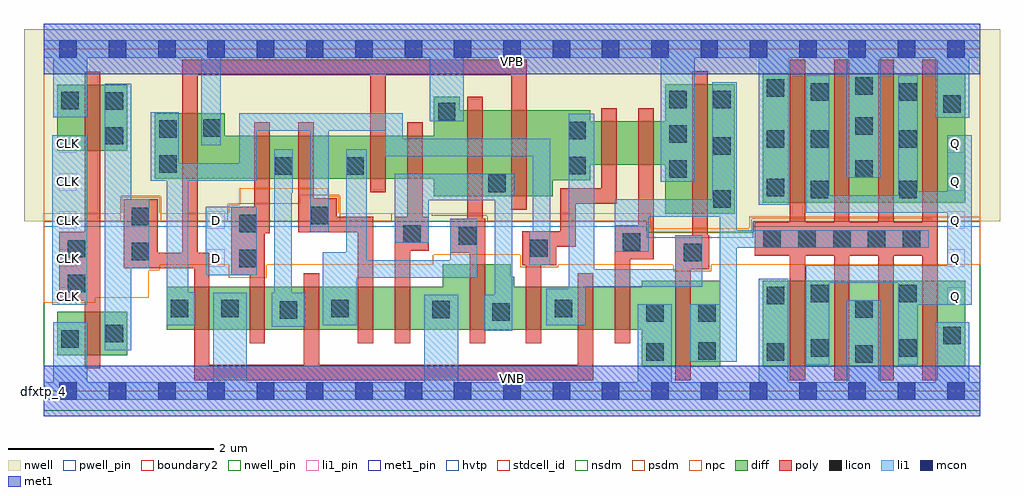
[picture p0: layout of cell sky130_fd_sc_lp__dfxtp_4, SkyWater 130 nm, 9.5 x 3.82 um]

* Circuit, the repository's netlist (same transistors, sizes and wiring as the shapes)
* Copyright 2020 The SkyWater PDK Authors
*
* Licensed under the Apache License, Version 2.0 (the "License");
* you may not use this file except in compliance with the License.
* You may obtain a copy of the License at
*
*     https://www.apache.org/licenses/LICENSE-2.0
*
* Unless required by applicable law or agreed to in writing, software
* distributed under the License is distributed on an "AS IS" BASIS,
* WITHOUT WARRANTIES OR CONDITIONS OF ANY KIND, either express or implied.
* See the License for the specific language governing permissions and
* limitations under the License.
*
* SPDX-License-Identifier: Apache-2.0

.SUBCKT sky130_fd_sc_lp__dfxtp_4 CLK D VGND VNB VPB VPWR Q
*.PININFO CLK:I D:I VGND:I VNB:I VPB:I VPWR:I Q:O
MI657 M0 clkpos net72 VNB sky130_fd_pr__nfet_01v8 m=1 w=0.42U l=0.15U mult=1 sa=0.265
+ sb=0.265 sd=0.28 area=0.063 perim=1.14
MI656 net72 M1 VGND VNB sky130_fd_pr__nfet_01v8 m=1 w=0.42U l=0.15U mult=1 sa=0.265
+ sb=0.265 sd=0.28 area=0.063 perim=1.14
MI646 Q S1 VGND VNB sky130_fd_pr__nfet_01v8 m=4 w=0.84U l=0.15U mult=1 sa=0.265
+ sb=0.265 sd=0.28 area=0.063 perim=1.14
MI648 db clkneg M0 VNB sky130_fd_pr__nfet_01v8 m=1 w=0.42U l=0.15U mult=1 sa=0.265
+ sb=0.265 sd=0.28 area=0.063 perim=1.14
MI654 db D VGND VNB sky130_fd_pr__nfet_01v8 m=1 w=0.42U l=0.15U mult=1 sa=0.265
+ sb=0.265 sd=0.28 area=0.063 perim=1.14
MI642 S0 clkneg net48 VNB sky130_fd_pr__nfet_01v8 m=1 w=0.42U l=0.15U mult=1 sa=0.265
+ sb=0.265 sd=0.28 area=0.063 perim=1.14
MI641 net48 S1 VGND VNB sky130_fd_pr__nfet_01v8 m=1 w=0.42U l=0.15U mult=1 sa=0.265
+ sb=0.265 sd=0.28 area=0.063 perim=1.14
MI652 M1 clkpos S0 VNB sky130_fd_pr__nfet_01v8 m=1 w=0.42U l=0.15U mult=1 sa=0.265
+ sb=0.265 sd=0.28 area=0.063 perim=1.14
MI649 S1 S0 VGND VNB sky130_fd_pr__nfet_01v8 m=1 w=0.84U l=0.15U mult=1 sa=0.265
+ sb=0.265 sd=0.28 area=0.063 perim=1.14
MI635 clkneg CLK VGND VNB sky130_fd_pr__nfet_01v8 m=1 w=0.42U l=0.15U mult=1 sa=0.265
+ sb=0.265 sd=0.28 area=0.063 perim=1.14
MI636 clkpos clkneg VGND VNB sky130_fd_pr__nfet_01v8 m=1 w=0.42U l=0.15U mult=1
+ sa=0.265 sb=0.265 sd=0.28 area=0.063 perim=1.14
MI634 M1 M0 VGND VNB sky130_fd_pr__nfet_01v8 m=1 w=0.64U l=0.15U mult=1 sa=0.265
+ sb=0.265 sd=0.28 area=0.063 perim=1.14
MI659 M0 clkneg net100 VPB sky130_fd_pr__pfet_01v8_hvt m=1 w=0.42U l=0.15U mult=1
+ sa=0.265 sb=0.265 sd=0.28 area=0.063 perim=1.14
MI650 S1 S0 VPWR VPB sky130_fd_pr__pfet_01v8_hvt m=1 w=1.26U l=0.15U mult=1 sa=0.265
+ sb=0.265 sd=0.28 area=0.063 perim=1.14
MI644 S0 clkpos net119 VPB sky130_fd_pr__pfet_01v8_hvt m=1 w=0.42U l=0.15U mult=1
+ sa=0.265 sb=0.265 sd=0.28 area=0.063 perim=1.14
MI639 M1 M0 VPWR VPB sky130_fd_pr__pfet_01v8_hvt m=1 w=0.84U l=0.15U mult=1 sa=0.265
+ sb=0.265 sd=0.28 area=0.063 perim=1.14
MI643 net119 S1 VPWR VPB sky130_fd_pr__pfet_01v8_hvt m=1 w=0.42U l=0.15U mult=1
+ sa=0.265 sb=0.265 sd=0.28 area=0.063 perim=1.14
MI638 clkneg CLK VPWR VPB sky130_fd_pr__pfet_01v8_hvt m=1 w=0.64U l=0.15U mult=1
+ sa=0.265 sb=0.265 sd=0.28 area=0.063 perim=1.14
MI658 net100 M1 VPWR VPB sky130_fd_pr__pfet_01v8_hvt m=1 w=0.42U l=0.15U mult=1
+ sa=0.265 sb=0.265 sd=0.28 area=0.063 perim=1.14
MI645 Q S1 VPWR VPB sky130_fd_pr__pfet_01v8_hvt m=4 w=1.26U l=0.15U mult=1 sa=0.265
+ sb=0.265 sd=0.28 area=0.063 perim=1.14
MI651 db clkpos M0 VPB sky130_fd_pr__pfet_01v8_hvt m=1 w=0.42U l=0.15U mult=1 sa=0.265
+ sb=0.265 sd=0.28 area=0.063 perim=1.14
MI655 db D VPWR VPB sky130_fd_pr__pfet_01v8_hvt m=1 w=0.42U l=0.15U mult=1 sa=0.265
+ sb=0.265 sd=0.28 area=0.063 perim=1.14
MI653 M1 clkneg S0 VPB sky130_fd_pr__pfet_01v8_hvt m=1 w=0.84U l=0.15U mult=1 sa=0.265
+ sb=0.265 sd=0.28 area=0.063 perim=1.14
MI637 clkpos clkneg VPWR VPB sky130_fd_pr__pfet_01v8_hvt m=1 w=0.64U l=0.15U mult=1
+ sa=0.265 sb=0.265 sd=0.28 area=0.063 perim=1.14
.ENDS sky130_fd_sc_lp__dfxtp_4

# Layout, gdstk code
import gdstk
lib = gdstk.Library(unit=1e-6, precision=1e-09)
def R(c, l, rs):  # rectangles x0, y0, x1, y1
    for r in rs: c.add(gdstk.rectangle(r[:2], r[2:], *l))
def A(c, l, x, y, w, h, nx, ny, dx, dy):  # array of equal rectangles
    R(c, l, [(x+i*dx, y+j*dy, x+i*dx+w, y+j*dy+h) for i in range(nx) for j in range(ny)])
def P(c, l, *ps):  # polygons
    for p in ps: c.add(gdstk.Polygon(p, *l))
nwell_pin = (64, 16)
nwell = (64, 20)
diff = (65, 20)
poly = (66, 20)
licon = (66, 44)
li1_pin = (67, 16)
li1 = (67, 20)
mcon = (67, 44)
met1_pin = (68, 16)
met1 = (68, 20)
hvtp = (78, 44)
stdcell_id = (81, 4)
nsdm = (93, 44)
psdm = (94, 20)
npc = (95, 20)
pwell_pin = (122, 16)
boundary2 = (236, 0)

sky130_fd_sc_lp__dfxtp_4 = lib.new_cell('sky130_fd_sc_lp__dfxtp_4')
R(sky130_fd_sc_lp__dfxtp_4, nwell_pin, [(0,3.085,9.12,3.33)])
P(sky130_fd_sc_lp__dfxtp_4, nwell, [(9.31,3.52),(-0.19,3.52),(-0.19,1.655),(5.87,1.655),(5.87,1.545),(6.91,1.545),(6.91,1.655),(9.31,1.655)])
R(sky130_fd_sc_lp__dfxtp_4, diff, [(7,0.235,8.97,1.075), (0.135,0.35,0.815,0.77), (7,1.835,8.97,3.095), (0.135,2.34,0.815,2.98)])
P(sky130_fd_sc_lp__dfxtp_4, diff, [(6.585,1.075),(5.825,1.075),(5.825,1.015),(4.58,1.015),(4.58,1.115),(4.55,1.115),(4.55,1.235),(3.885,1.235),(3.885,1.015),(1.2,1.015),(1.2,0.595),(5.825,0.595),(5.825,0.235),(6.585,0.235)],
  [(6.73,2.985),(6.05,2.985),(6.05,2.625),(5.32,2.625),(5.32,2.735),(4.05,2.735),(4.05,2.865),(3.8,2.865),(3.8,2.485),(1.765,2.485),(1.765,2.705),(1.085,2.705),(1.085,2.065),(3.8,2.065),(3.8,1.895),(4.955,1.895),(4.955,2.05),(5.32,2.05),(5.32,2.205),(6.05,2.205),(6.05,1.725),(6.73,1.725)])
P(sky130_fd_sc_lp__dfxtp_4, poly, [(0.55,3.11),(0.4,3.11),(0.4,1.55),(0.155,1.55),(0.155,0.88),(0.4,0.88),(0.4,0.22),(0.55,0.22)],
  [(2.155,1.535),(2.2,1.535),(2.2,2.615),(2.05,2.615),(2.05,1.795),(1.825,1.795),(1.825,1.125),(2.005,1.125),(2.005,0.465),(2.155,0.465)],
  [(3.21,1.695),(2.855,1.695),(2.855,1.875),(2.63,1.875),(2.63,2.615),(2.48,2.615),(2.48,1.545),(3.06,1.545),(3.06,0.465),(3.21,0.465)],
  [(3.75,1.695),(3.69,1.695),(3.69,2.615),(3.54,2.615),(3.54,1.695),(3.42,1.695),(3.42,0.465),(3.57,0.465),(3.57,1.365),(3.75,1.365)],
  [(4.3,1.675),(4.275,1.675),(4.275,2.865),(4.125,2.865),(4.125,1.675),(3.96,1.675),(3.96,1.345),(4.15,1.345),(4.15,0.465),(4.3,0.465)],
  [(5.35,1.145),(5.2,1.145),(5.2,0.255),(2.685,0.255),(2.685,1.145),(2.535,1.145),(2.535,0.255),(1.615,0.255),(1.615,1.345),(1.5,1.345),(1.5,3.075),(3.18,3.075),(3.18,1.935),(3.33,1.935),(3.33,3.075),(4.555,3.075),(4.555,1.765),(4.705,1.765),(4.705,3.225),(1.35,3.225),(1.35,1.345),(1.11,1.345),(1.11,1.865),(0.78,1.865),(0.78,1.195),(1.465,1.195),(1.465,0.105),(5.35,0.105)],
  [(5.58,2.755),(5.43,2.755),(5.43,1.975),(5.03,1.975),(5.03,1.555),(4.66,1.555),(4.66,1.225),(4.695,1.225),(4.695,0.465),(4.845,0.465),(4.845,1.225),(4.99,1.225),(4.99,1.405),(5.18,1.405),(5.18,1.825),(5.58,1.825)],
  [(5.94,2.755),(5.79,2.755),(5.79,1.615),(5.56,1.615),(5.56,0.465),(5.71,0.465),(5.71,1.285),(5.94,1.285)],
  [(6.48,1.515),(6.465,1.515),(6.465,3.115),(6.315,3.115),(6.315,1.515),(6.15,1.515),(6.15,0.105),(6.3,0.105),(6.3,1.185),(6.48,1.185)],
  [(8.705,3.225),(8.555,3.225),(8.555,1.645),(8.275,1.645),(8.275,3.225),(8.125,3.225),(8.125,1.645),(7.845,1.645),(7.845,3.225),(7.695,3.225),(7.695,1.645),(7.415,1.645),(7.415,3.225),(7.265,3.225),(7.265,1.645),(6.925,1.645),(6.925,1.315),(7.265,1.315),(7.265,0.105),(7.415,0.105),(7.415,1.315),(7.695,1.315),(7.695,0.105),(7.845,0.105),(7.845,1.315),(8.125,1.315),(8.125,0.105),(8.275,0.105),(8.275,1.315),(8.555,1.315),(8.555,0.105),(8.705,0.105)])
A(sky130_fd_sc_lp__dfxtp_4, licon, 7.005, 1.395, 0.17, 0.17, 5, 1, 0.34, 0)
A(sky130_fd_sc_lp__dfxtp_4, licon, 6.09, 2.075, 0.17, 0.17, 1, 3, 0, 0.34)
R(sky130_fd_sc_lp__dfxtp_4, licon, [(7.9,0.275,8.07,0.445), (5.865,0.295,6.035,0.465), (7.04,0.295,7.21,0.465), (6.375,0.305,6.545,0.475), (7.47,0.335,7.64,0.505), (8.33,0.335,8.5,0.505), (0.175,0.42,0.345,0.59), (8.76,0.455,8.93,0.625), (0.605,0.475,0.775,0.645), (5.865,0.675,6.035,0.845), (6.375,0.675,6.545,0.845), (4.37,0.685,4.54,0.855), (2.3,0.705,2.47,0.875), (3.785,0.71,3.955,0.88), (7.9,0.715,8.07,0.885), (1.24,0.72,1.41,0.89), (1.73,0.72,1.9,0.89), (2.8,0.72,2.97,0.89), (4.975,0.72,5.145,0.89), (7.04,0.845,7.21,1.015), (7.47,0.865,7.64,1.035), (8.33,0.865,8.5,1.035), (0.235,0.96,0.405,1.13), (1.905,1.205,2.075,1.375), (6.23,1.265,6.4,1.435), (0.86,1.275,1.03,1.445), (0.235,1.3,0.405,1.47), (4.74,1.305,4.91,1.475), (5.64,1.365,5.81,1.535), (4.04,1.425,4.21,1.595), (3.5,1.445,3.67,1.615), (1.905,1.545,2.075,1.715), (0.86,1.615,1.03,1.785), (2.605,1.625,2.775,1.795), (6.52,1.785,6.69,1.955), (7.47,1.875,7.64,2.045), (8.33,1.875,8.5,2.045), (7.04,1.895,7.21,2.065), (4.33,1.935,4.5,2.105), (7.9,2.075,8.07,2.245), (2.255,2.105,2.425,2.275), (2.945,2.105,3.115,2.275), (5.11,2.11,5.28,2.28), (1.125,2.125,1.295,2.295), (6.52,2.3,6.69,2.47), (7.04,2.37,7.21,2.54), (7.47,2.37,7.64,2.54), (8.33,2.37,8.5,2.54), (0.605,2.4,0.775,2.57), (5.11,2.45,5.28,2.62), (1.125,2.465,1.295,2.635), (1.555,2.475,1.725,2.645), (7.9,2.495,8.07,2.665), (3.84,2.635,4.01,2.805), (8.76,2.71,8.93,2.88), (0.605,2.74,0.775,2.91), (0.175,2.745,0.345,2.915), (6.52,2.755,6.69,2.925), (7.47,2.825,7.64,2.995), (8.33,2.825,8.5,2.995), (7.04,2.865,7.21,3.035), (7.9,2.885,8.07,3.055)])
A(sky130_fd_sc_lp__dfxtp_4, li1_pin, 0.155, 0.84, 0.17, 0.17, 1, 5, 0, 0.37)
A(sky130_fd_sc_lp__dfxtp_4, li1_pin, 8.795, 0.84, 0.17, 0.17, 1, 5, 0, 0.37)
R(sky130_fd_sc_lp__dfxtp_4, li1_pin, [(1.595,1.21,1.765,1.38), (1.595,1.58,1.765,1.75)])
R(sky130_fd_sc_lp__dfxtp_4, li1, [(0.085,0.84,0.425,2.49), (1.58,1.125,2.075,1.795)])
P(sky130_fd_sc_lp__dfxtp_4, li1, [(3.76,2.625),(3.76,3.245),(1.725,3.245),(1.725,2.395),(1.535,2.395),(1.535,3.245),(0.425,3.245),(0.425,2.665),(0.095,2.665),(0.095,3.245),(0,3.245),(0,3.415),(9.12,3.415),(9.12,3.245),(9.01,3.245),(9.01,2.66),(8.68,2.66),(8.68,3.245),(8.15,3.245),(8.15,2.075),(7.82,2.075),(7.82,3.245),(7.255,3.245),(7.255,1.815),(6.96,1.815),(6.96,3.245),(6.34,3.245),(6.34,2.035),(6.01,2.035),(6.01,3.245),(4.09,3.245),(4.09,2.625)],
  [(0.095,0.085),(0.095,0.67),(0.425,0.67),(0.425,0.085),(1.65,0.085),(1.65,0.955),(1.98,0.955),(1.98,0.085),(3.705,0.085),(3.705,0.935),(4.035,0.935),(4.035,0.085),(5.785,0.085),(5.785,0.845),(6.115,0.845),(6.115,0.085),(6.96,0.085),(6.96,1.095),(7.25,1.095),(7.25,0.085),(7.82,0.085),(7.82,0.885),(8.15,0.885),(8.15,0.085),(8.68,0.085),(8.68,0.67),(9.01,0.67),(9.01,0.085),(9.12,0.085),(9.12,-0.085),(0,-0.085),(0,0.085)],
  [(4.58,2.115),(4.58,1.915),(4.56,1.915),(4.56,0.585),(4.29,0.585),(4.29,0.935),(4.39,0.935),(4.39,1.855),(3.75,1.855),(3.75,1.445),(3.42,1.445),(3.42,2.115)],
  [(0.855,1.865),(1.03,1.865),(1.03,1.195),(0.855,1.195),(0.855,0.395),(0.595,0.395),(0.595,2.99),(0.855,2.99)],
  [(5.11,0.995),(5.11,2.7),(5.36,2.7),(5.36,1.185),(6.15,1.185),(6.15,1.515),(6.41,1.515),(6.41,1.015),(5.28,1.015),(5.28,0.64),(4.895,0.64),(4.895,0.995)],
  [(2.945,1.35),(2.945,2.355),(3.145,2.355),(3.145,1.275),(3.96,1.275),(3.96,1.675),(4.22,1.675),(4.22,1.105),(3.05,1.105),(3.05,0.64),(2.72,0.64),(2.72,1.35)],
  [(8.51,1.945),(8.795,1.945),(8.795,2.49),(9.035,2.49),(9.035,0.84),(8.51,0.84),(8.51,0.255),(8.32,0.255),(8.32,1.055),(7.65,1.055),(7.65,0.255),(7.42,0.255),(7.42,1.225),(8.795,1.225),(8.795,1.735),(7.425,1.735),(7.425,3.075),(7.65,3.075),(7.65,1.905),(8.32,1.905),(8.32,3.075),(8.51,3.075)],
  [(4.93,2.455),(3.495,2.455),(3.495,2.705),(1.905,2.705),(1.905,2.215),(1.315,2.215),(1.315,2.715),(1.045,2.715),(1.045,2.045),(1.2,2.045),(1.2,0.64),(1.48,0.64),(1.48,0.96),(1.41,0.96),(1.41,2.045),(2.075,2.045),(2.075,2.535),(2.595,2.535),(2.595,1.545),(2.775,1.545),(2.775,2.535),(3.325,2.535),(3.325,2.285),(4.76,2.285),(4.76,1.555),(4.73,1.555),(4.73,1.225),(4.93,1.225)],
  [(6.58,0.845),(6.58,1.695),(5.89,1.695),(5.89,1.355),(5.56,1.355),(5.56,1.865),(6.51,1.865),(6.51,3.005),(6.75,3.005),(6.75,1.565),(8.615,1.565),(8.615,1.395),(6.75,1.395),(6.75,0.285),(6.295,0.285),(6.295,0.845)],
  [(2.55,0.955),(2.415,0.955),(2.415,1.93),(2.425,1.93),(2.425,2.355),(2.245,2.355),(2.245,0.955),(2.22,0.955),(2.22,0.625),(2.55,0.625)])
A(sky130_fd_sc_lp__dfxtp_4, mcon, 0.155, -0.085, 0.17, 0.17, 19, 2, 0.48, 3.33)
R(sky130_fd_sc_lp__dfxtp_4, met1_pin, [(0,0,9.12,0.245), (0,3.085,9.12,3.33)])
R(sky130_fd_sc_lp__dfxtp_4, met1, [(0,-0.245,9.12,0.245), (0,3.085,9.12,3.575)])
P(sky130_fd_sc_lp__dfxtp_4, hvtp, [(9.12,3.33),(0,3.33),(0,1.6),(5.87,1.6),(5.87,1.49),(6.91,1.49),(6.91,1.6),(9.12,1.6)])
R(sky130_fd_sc_lp__dfxtp_4, stdcell_id, [(0,0,9.12,3.33)])
P(sky130_fd_sc_lp__dfxtp_4, nsdm, [(9.12,1.655),(6.91,1.655),(6.91,1.545),(5.87,1.545),(5.87,1.655),(0,1.655),(0,-0.19),(9.12,-0.19)])
P(sky130_fd_sc_lp__dfxtp_4, psdm, [(9.12,3.52),(0,3.52),(0,1.655),(0.75,1.655),(0.75,1.895),(1.14,1.895),(1.14,1.655),(1.795,1.655),(1.795,1.825),(2.495,1.825),(2.495,1.905),(2.885,1.905),(2.885,1.655),(3.39,1.655),(3.39,1.725),(3.78,1.725),(3.78,1.705),(4.32,1.705),(4.32,1.655),(5.87,1.655),(5.87,1.645),(5.92,1.645),(5.92,1.545),(6.895,1.545),(6.895,1.675),(8.645,1.675),(8.645,1.655),(9.12,1.655)])
P(sky130_fd_sc_lp__dfxtp_4, npc, [(9.12,1.695),(6.87,1.695),(6.87,1.585),(5.91,1.585),(5.91,1.73),(2.875,1.73),(2.875,1.895),(2.77,1.895),(2.77,1.975),(1.91,1.975),(1.91,1.815),(1.805,1.815),(1.805,1.73),(1.13,1.73),(1.13,1.885),(0.76,1.885),(0.76,1.73),(0,1.73),(0,0.86),(0.505,0.86),(0.505,0.91),(1.025,0.91),(1.025,1.175),(1.13,1.175),(1.13,1.23),(1.805,1.23),(1.805,1.105),(2.175,1.105),(2.175,1.23),(3.795,1.23),(3.795,1.325),(4.64,1.325),(4.64,1.205),(5.01,1.205),(5.01,1.23),(6.13,1.23),(6.13,1.165),(6.5,1.165),(6.5,1.23),(9.12,1.23)])
R(sky130_fd_sc_lp__dfxtp_4, pwell_pin, [(0,0,9.12,0.245)])
R(sky130_fd_sc_lp__dfxtp_4, boundary2, [(0,0,9.12,3.33)])
sky130_fd_sc_lp__dfxtp_4.add(gdstk.Label('VNB', (4.56,0.123), layer=64, texttype=59))
sky130_fd_sc_lp__dfxtp_4.add(gdstk.Label('VPB', (4.56,3.208), layer=64, texttype=5))
sky130_fd_sc_lp__dfxtp_4.add(gdstk.Label('dfxtp_4', (0,0), layer=83, texttype=44))
sky130_fd_sc_lp__dfxtp_4.add(gdstk.Label('VPWR', (4.56,3.208), layer=68, texttype=5))
sky130_fd_sc_lp__dfxtp_4.add(gdstk.Label('VGND', (4.56,0.123), layer=68, texttype=5))
sky130_fd_sc_lp__dfxtp_4.add(gdstk.Label('Q', (8.88,0.925), layer=67, texttype=5))
sky130_fd_sc_lp__dfxtp_4.add(gdstk.Label('Q', (8.88,1.295), layer=67, texttype=5))
sky130_fd_sc_lp__dfxtp_4.add(gdstk.Label('Q', (8.88,1.665), layer=67, texttype=5))
sky130_fd_sc_lp__dfxtp_4.add(gdstk.Label('Q', (8.88,2.035), layer=67, texttype=5))
sky130_fd_sc_lp__dfxtp_4.add(gdstk.Label('Q', (8.88,2.405), layer=67, texttype=5))
sky130_fd_sc_lp__dfxtp_4.add(gdstk.Label('CLK', (0.24,0.925), layer=67, texttype=5))
sky130_fd_sc_lp__dfxtp_4.add(gdstk.Label('CLK', (0.24,1.295), layer=67, texttype=5))
sky130_fd_sc_lp__dfxtp_4.add(gdstk.Label('CLK', (0.24,1.665), layer=67, texttype=5))
sky130_fd_sc_lp__dfxtp_4.add(gdstk.Label('CLK', (0.24,2.035), layer=67, texttype=5))
sky130_fd_sc_lp__dfxtp_4.add(gdstk.Label('CLK', (0.24,2.405), layer=67, texttype=5))
sky130_fd_sc_lp__dfxtp_4.add(gdstk.Label('D', (1.68,1.295), layer=67, texttype=5))
sky130_fd_sc_lp__dfxtp_4.add(gdstk.Label('D', (1.68,1.665), layer=67, texttype=5))

lib.write_gds('sky130_fd_sc_lp__dfxtp_4.gds')
